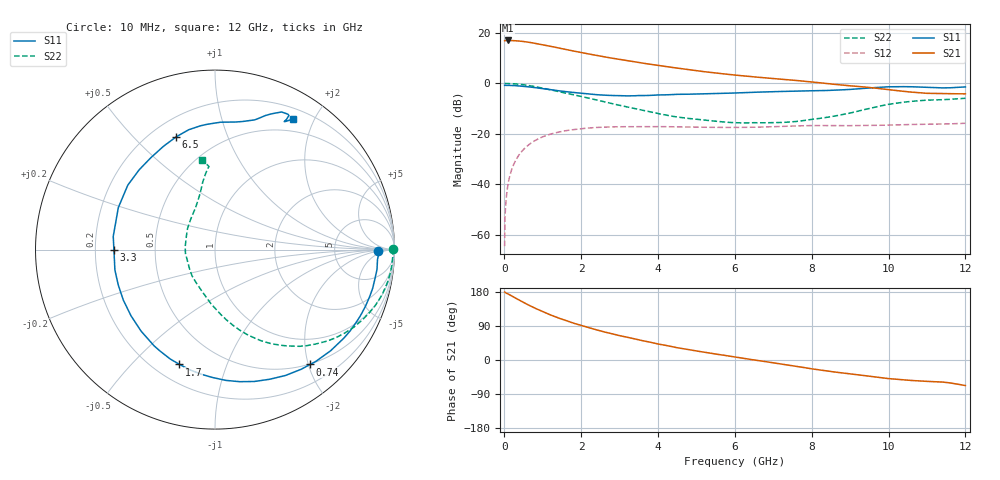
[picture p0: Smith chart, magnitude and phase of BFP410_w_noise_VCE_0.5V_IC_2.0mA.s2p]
! Infineon Technologies  Discrete & RF Semiconductors
! BFP410
! VCE =  0.5 V,  IC =  2.0 mA
! Common Emitter S-Parameters:  Nov 2015
# GHz  S  MA  R  50
!  f  S11  S21  S12  S22
! GHz  MAG  ANG  MAG  ANG  MAG  ANG  MAG  ANG
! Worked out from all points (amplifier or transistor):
!   243 points, 10 MHz to 12 GHz, reference 50 ohm
!   highest |S21| = 16.9 dB at 100 MHz (marker M1)
!   |S21| within 3 dB of that: start of sweep to 1.421 GHz
!   unconditionally stable (mu >= 1): 4.042 GHz to end of sweep
!   at 240 MHz: K = 0.05, MSG = 24.6 dB, |S12| = -32.3 dB
!   at 1.84 GHz: K = 0.42, MSG = 15.4 dB, |S12| = -18.2 dB
!   at 12 GHz: K = 1.14, MAG = 3.6 dB, |S12| = -15.8 dB
!   lowest NFmin = 0.82 dB at 900 MHz
!   S11 on the Smith chart (normalised r, x): 10 MHz: 21, -2; 740 MHz: 0.49, -2.03; 1.7 GHz: 0.30, -0.69; 3.3 GHz: 0.28, -0.00; 6.5 GHz: 0.30, +0.67; 12 GHz: 0.33, +1.71
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0.01  0.9093 -0.6  6.909 179.5  0.0006 104.2  0.9912 0.2
0.015  0.9108 -1.1  6.964 179.2  0.0014 92.2  0.991 -0.2
0.025  0.9114 -1.8  7.013 178.5  0.0027 87.9  0.9909 -0.9
0.1  0.9094 -6.9  7.025 174.4  0.0102 85.9  0.9902 -4.3
0.3  0.8956 -20.7  6.93 163.0  0.0301 77.8  0.9709 -13.0
0.46  0.877 -31.7  6.749 154.3  0.0453 71.5  0.9432 -19.7
0.6  0.8559 -41.2  6.534 146.6  0.0576 66.1  0.9111 -25.3
0.74  0.8307 -50.4  6.285 139.9  0.0689 60.8  0.8748 -30.6
0.92  0.7989 -62.0  5.949 131.2  0.0819 54.5  0.825 -37.0
1.2  0.7487 -79.4  5.405 119.1  0.0986 45.7  0.7442 -45.9
1.4  0.713 -91.0  5.011 111.1  0.1076 40.0  0.6884 -51.4
1.7  0.6696 -107.2  4.511 100.6  0.1185 32.6  0.6146 -58.7
2.02  0.6316 -123.3  4.03 90.6  0.1269 25.9  0.5451 -65.4
2.6  0.5832 -151.1  3.336 74.2  0.1358 15.1  0.4302 -77.0
3.3  0.5632 -179.9  2.714 57.8  0.1385 5.7  0.3273 -89.8
4.1  0.5882 153.9  2.203 40.5  0.1388 -2.4  0.2434 -107.3
5  0.6134 133.5  1.771 23.7  0.1357 -8.9  0.1945 -131.0
6.1  0.6465 115.0  1.429 6.4  0.1339 -13.3  0.1651 -160.7
6.5  0.6644 109.0  1.339 0.1  0.1349 -14.6  0.1661 -173.1
8.2  0.714 84.2  1.024 -26.0  0.1455 -23.4  0.2016 136.3
10.2  0.8541 63.0  0.719 -50.7  0.1501 -31.3  0.4032 98.7
12  0.8465 59.2  0.618 -67.4  0.1618 -41.1  0.5047 98.1
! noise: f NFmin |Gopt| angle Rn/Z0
0.45  0.86  0.5  7  0.29
0.9  0.82  0.48  21  0.27
1.8  1.05  0.37  55  0.23
2.4  1.09  0.36  63  0.19
5.5  2.24  0.36  -145  0.21
10  3.98  0.7  -56  2.38
